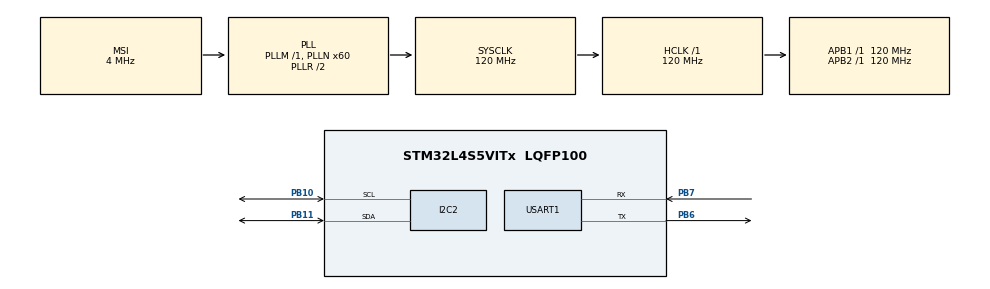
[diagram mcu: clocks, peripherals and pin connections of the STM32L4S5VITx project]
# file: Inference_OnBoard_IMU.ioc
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I2C2.Timing=0x30A175AB
Mcu.Family=STM32L4
Mcu.Name=STM32L4S5VITx
Mcu.Package=LQFP100
NVIC.PriorityGroup=NVIC_PRIORITYGROUP_4
PB10.Mode=I2C
PB10.Signal=I2C2_SCL
PB11.Mode=I2C
PB11.Signal=I2C2_SDA
PB6.Mode=Asynchronous
PB6.Signal=USART1_TX
PB7.Mode=Asynchronous
PB7.Signal=USART1_RX
ProjectManager.HeapSize=0x200
ProjectManager.StackSize=0x400
ProjectManager.TargetToolchain=STM32CubeIDE
RCC.ADCFreq_Value=48000000
RCC.AHBFreq_Value=120000000
RCC.APB1Freq_Value=120000000
RCC.APB1TimFreq_Value=120000000
RCC.APB2Freq_Value=120000000
RCC.APB2TimFreq_Value=120000000
RCC.CortexFreq_Value=120000000
RCC.HCLKFreq_Value=120000000
RCC.HSE_VALUE=8000000
RCC.HSI48_VALUE=48000000
RCC.HSI_VALUE=16000000
RCC.MSI_VALUE=4000000
RCC.PLLN=60
RCC.PLLSAI1N=24
RCC.SYSCLKFreq_VALUE=120000000
RCC.SYSCLKSource=RCC_SYSCLKSOURCE_PLLCLK
RCC.USBFreq_Value=48000000
RCC.VCOOutputFreq_Value=240000000
STMicroelectronics.X-CUBE-AI.10.2.1.ActivationBufferSizeList=2092
STMicroelectronics.X-CUBE-AI.10.2.1.ActivationBuffers=pool0
STMicroelectronics.X-CUBE-AI.10.2.1.ActivationNames=pool0
STMicroelectronics.X-CUBE-AI.10.2.1.ActivationSizes=AI_NETWORK_DATA_ACTIVATION_1_SIZE
STMicroelectronics.X-CUBE-AI.10.2.1.HeapSize=0x800
STMicroelectronics.X-CUBE-AI.10.2.1.InternalRamActivationBufferMaxSize=AI_NETWORK_DATA_ACTIVATIONS_SIZE
STMicroelectronics.X-CUBE-AI.10.2.1.LatestDirectoryUsed-6291740c107991d132de2309ffc4e720c78a395076eed721d9aa543ecdc960af=D\:\\RKS_TinyML_Workspace\\TinyML_Workshop_Nitte\\ONNX
STMicroelectronics.X-CUBE-AI.10.2.1.MaximumNumberOfInputLayer=1
STMicroelectronics.X-CUBE-AI.10.2.1.MaximumNumberOfOutputLayer=1
STMicroelectronics.X-CUBE-AI.10.2.1.MaximumSizeOfInputLayer=1
STMicroelectronics.X-CUBE-AI.10.2.1.MaximumSizeOfOutputLayer=1,1
STMicroelectronics.X-CUBE-AI.10.2.1.ModelActualCompression-6291740c107991d132de2309ffc4e720c78a395076eed721d9aa543ecdc960af=0.0
STMicroelectronics.X-CUBE-AI.10.2.1.ModelCompression-6291740c107991d132de2309ffc4e720c78a395076eed721d9aa543ecdc960af=None
STMicroelectronics.X-CUBE-AI.10.2.1.ModelFlashOccupation-6291740c107991d132de2309ffc4e720c78a395076eed721d9aa543ecdc960af=1321444
STMicroelectronics.X-CUBE-AI.10.2.1.ModelHashList=6291740c107991d132de2309ffc4e720c78a395076eed721d9aa543ecdc960af
STMicroelectronics.X-CUBE-AI.10.2.1.ModelKind-6291740c107991d132de2309ffc4e720c78a395076eed721d9aa543ecdc960af=ONNX
STMicroelectronics.X-CUBE-AI.10.2.1.ModelMacc-6291740c107991d132de2309ffc4e720c78a395076eed721d9aa543ecdc960af=1311
STMicroelectronics.X-CUBE-AI.10.2.1.ModelName-6291740c107991d132de2309ffc4e720c78a395076eed721d9aa543ecdc960af=network
STMicroelectronics.X-CUBE-AI.10.2.1.ModelNameList=network
STMicroelectronics.X-CUBE-AI.10.2.1.ModelRamOccupation-6291740c107991d132de2309ffc4e720c78a395076eed721d9aa543ecdc960af=2092
STMicroelectronics.X-CUBE-AI.10.2.1.ModelStructureFile-6291740c107991d132de2309ffc4e720c78a395076eed721d9aa543ecdc960af=D\:\\RKS_TinyML_Workspace\\TinyML_Workshop_Nitte\\ONNX\\random_forest_model.onnx
STMicroelectronics.X-CUBE-AI.10.2.1.ModelType-6291740c107991d132de2309ffc4e720c78a395076eed721d9aa543ecdc960af=STM32Cube.AI MCU runtime
STMicroelectronics.X-CUBE-AI.10.2.1.ReadyForCodeGeneration=true
STMicroelectronics.X-CUBE-AI.10.2.1.StackSize=0x800
STMicroelectronics.X-CUBE-AI.10.2.1.WorkingBufferStartAddrList=0xFFFFFFFF
STMicroelectronics.X-CUBE-AI.10.2.1.XAaCUBEAaAICcArtificialOoIntelligenceJjCore=true
STMicroelectronics.X-CUBE-AI.10.2.1.copyWeightToRam=false
STMicroelectronics.X-CUBE-AI.10.2.1.customLayerConfigEnabled=false
STMicroelectronics.X-CUBE-AI.10.2.1.noOnnxIoTranspose=false
STMicroelectronics.X-CUBE-AI.10.2.1.useInputAllocation=true
STMicroelectronics.X-CUBE-AI.10.2.1.useOutputAllocation=true
USART1.VirtualMode-Asynchronous=VM_ASYNC
VP_STMicroelectronics.X-CUBE-AI_VS_ArtificialOoIntelligenceJjXAaCUBEAaAI_10.2.1.Mode=ArtificialOoIntelligenceJjXAaCUBEAaAI
board=B-L4S5I-IOT01A

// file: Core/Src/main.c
/* USER CODE BEGIN Header */
/**
  ******************************************************************************
  * @file           : main.c
  * @brief          : Main program body
  ******************************************************************************
  * @attention
  *
  * Copyright (c) 2026 STMicroelectronics.
  * All rights reserved.
  *
  * This software is licensed under terms that can be found in the LICENSE file
  * in the root directory of this software component.
  * If no LICENSE file comes with this software, it is provided AS-IS.
  *
  ******************************************************************************
  */
/* USER CODE END Header */
#include "main.h"

/* USER CODE BEGIN Includes */
#include "stdio.h"
#include "string.h"
#include "network.h"
#include "network_data.h"
#include "network_data_params.h"
#include "imu.h"
/* USER CODE END Includes */

I2C_HandleTypeDef hi2c2;

UART_HandleTypeDef huart1;

/* USER CODE BEGIN PV */
ai_handle network = AI_HANDLE_NULL;

AI_ALIGNED(4)
static ai_u8 activations_buffer[AI_NETWORK_DATA_ACTIVATIONS_SIZE];

static ai_buffer *ai_input;
static ai_buffer *ai_output;

/* Input Features */
float input_data[6];

const float feature_min[6] =
{
    -2.000f,
    -2.000f,
    -2.000f,
    -250.137f,
    -250.137f,
    -250.137f
};

const float feature_max[6] =
{
     2.000f,
     1.749f,
     2.000f,
     250.130f,
     250.130f,
     250.130f
};

/* Predicted Label */
int32_t predicted_label;

/* Output Probabilities */
float probabilities[10];
/* USER CODE END PV */

void SystemClock_Config(void);
static void MX_GPIO_Init(void);
static void MX_I2C2_Init(void);
static void MX_USART1_UART_Init(void);
/* USER CODE BEGIN PFP */
void Normalize_Features(void);
void AI_Run(void);
/* USER CODE END PFP */

/* USER CODE BEGIN 0 */
void MX_X_CUBE_AI_Init(void)
{
    ai_error err;

    /* Activation memory */
    const ai_handle activations[] =
    {
    		activations_buffer
    };

    /* Use embedded weights generated by X-CUBE-AI */
    err = ai_network_create_and_init(
            &network,
            activations,
            NULL);

    if (err.type != AI_ERROR_NONE)
    {
        printf("AI Init Failed\r\n");
        printf("Type = %d\r\n", err.type);
        printf("Code = %d\r\n", err.code);
        Error_Handler();
    }

    ai_input  = ai_network_inputs_get(network, NULL);
    ai_output = ai_network_outputs_get(network, NULL);

    printf("AI Initialized Successfully\r\n");
}

/* USER CODE END 0 */

int main(void)
{

  /* MCU Configuration--------------------------------------------------------*/

  /* Reset of all peripherals, Initializes the Flash interface and the Systick. */
  HAL_Init();

  /* Configure the system clock */
  SystemClock_Config();

  /* Initialize all configured peripherals */
  MX_GPIO_Init();
  MX_I2C2_Init();
  MX_USART1_UART_Init();
  /* USER CODE BEGIN 2 */
  printf("\r\n");
   printf("Random Forest STM32 Demo\r\n");
   float ax, ay, az;
     float gx, gy, gz;
  //   float data[6] = {0};
   MX_X_CUBE_AI_Init();
  /* USER CODE END 2 */

  /* Infinite loop */
  while (1)
  {

    /* USER CODE BEGIN 3 */
	  IMU_Read_Accel(&ax, &ay, &az);
	  	  IMU_Read_Gyro(&gx, &gy, &gz);

	  	  /* Build feature vector */
	  	  input_data[0] = ax;
	  	  input_data[1] = ay;
	  	  input_data[2] = az;
	  	  input_data[3] = gx;
	  	  input_data[4] = gy;
	  	  input_data[5] = gz;

	  	  /* Normalize */
	  	  Normalize_Features();

	  	  printf("\nRaw Sensor Values\n");
	  	  printf("\nAx = %.3f  Ay = %.3f  Az = %.3f\n", ax, ay, az);
	  	  printf("\nGx = %.3f  Gy = %.3f  Gz = %.3f\n", gx, gy, gz);

	  	  printf("\nNormalized Features\n");
	  	  for(int i = 0; i < 6; i++)
	  	  {
	  	      printf("%.3f ", input_data[i]);
	  	  }
	  	  printf("\n");

	  	  /* Run inference */
	  	  AI_Run();

	  	  HAL_Delay(200);
	    }
  /* USER CODE END 3 */
}

void SystemClock_Config(void)
{
  RCC_OscInitTypeDef RCC_OscInitStruct = {0};
  RCC_ClkInitTypeDef RCC_ClkInitStruct = {0};

  /** Configure the main internal regulator output voltage
  */
  if (HAL_PWREx_ControlVoltageScaling(PWR_REGULATOR_VOLTAGE_SCALE1_BOOST) != HAL_OK)
  {
    Error_Handler();
  }

  /** Initializes the RCC Oscillators according to the specified parameters
  * in the RCC_OscInitTypeDef structure.
  */
  RCC_OscInitStruct.OscillatorType = RCC_OSCILLATORTYPE_MSI;
  RCC_OscInitStruct.MSIState = RCC_MSI_ON;
  RCC_OscInitStruct.MSICalibrationValue = 0;
  RCC_OscInitStruct.MSIClockRange = RCC_MSIRANGE_6;
  RCC_OscInitStruct.PLL.PLLState = RCC_PLL_ON;
  RCC_OscInitStruct.PLL.PLLSource = RCC_PLLSOURCE_MSI;
  RCC_OscInitStruct.PLL.PLLM = 1;
  RCC_OscInitStruct.PLL.PLLN = 60;
  RCC_OscInitStruct.PLL.PLLP = RCC_PLLP_DIV2;
  RCC_OscInitStruct.PLL.PLLQ = RCC_PLLQ_DIV2;
  RCC_OscInitStruct.PLL.PLLR = RCC_PLLR_DIV2;
  if (HAL_RCC_OscConfig(&RCC_OscInitStruct) != HAL_OK)
  {
    Error_Handler();
  }

  /** Initializes the CPU, AHB and APB buses clocks
  */
  RCC_ClkInitStruct.ClockType = RCC_CLOCKTYPE_HCLK|RCC_CLOCKTYPE_SYSCLK
                              |RCC_CLOCKTYPE_PCLK1|RCC_CLOCKTYPE_PCLK2;
  RCC_ClkInitStruct.SYSCLKSource = RCC_SYSCLKSOURCE_PLLCLK;
  RCC_ClkInitStruct.AHBCLKDivider = RCC_SYSCLK_DIV1;
  RCC_ClkInitStruct.APB1CLKDivider = RCC_HCLK_DIV1;
  RCC_ClkInitStruct.APB2CLKDivider = RCC_HCLK_DIV1;

  if (HAL_RCC_ClockConfig(&RCC_ClkInitStruct, FLASH_LATENCY_5) != HAL_OK)
  {
    Error_Handler();
  }
}

static void MX_I2C2_Init(void)
{

  hi2c2.Instance = I2C2;
  hi2c2.Init.Timing = 0x30A175AB;
  hi2c2.Init.OwnAddress1 = 0;
  hi2c2.Init.AddressingMode = I2C_ADDRESSINGMODE_7BIT;
  hi2c2.Init.DualAddressMode = I2C_DUALADDRESS_DISABLE;
  hi2c2.Init.OwnAddress2 = 0;
  hi2c2.Init.OwnAddress2Masks = I2C_OA2_NOMASK;
  hi2c2.Init.GeneralCallMode = I2C_GENERALCALL_DISABLE;
  hi2c2.Init.NoStretchMode = I2C_NOSTRETCH_DISABLE;
  if (HAL_I2C_Init(&hi2c2) != HAL_OK)
  {
    Error_Handler();
  }

  /** Configure Analogue filter
  */
  if (HAL_I2CEx_ConfigAnalogFilter(&hi2c2, I2C_ANALOGFILTER_ENABLE) != HAL_OK)
  {
    Error_Handler();
  }

  /** Configure Digital filter
  */
  if (HAL_I2CEx_ConfigDigitalFilter(&hi2c2, 0) != HAL_OK)
  {
    Error_Handler();
  }

}

static void MX_USART1_UART_Init(void)
{

  huart1.Instance = USART1;
  huart1.Init.BaudRate = 115200;
  huart1.Init.WordLength = UART_WORDLENGTH_8B;
  huart1.Init.StopBits = UART_STOPBITS_1;
  huart1.Init.Parity = UART_PARITY_NONE;
  huart1.Init.Mode = UART_MODE_TX_RX;
  huart1.Init.HwFlowCtl = UART_HWCONTROL_NONE;
  huart1.Init.OverSampling = UART_OVERSAMPLING_16;
  huart1.Init.OneBitSampling = UART_ONE_BIT_SAMPLE_DISABLE;
  huart1.Init.ClockPrescaler = UART_PRESCALER_DIV1;
  huart1.AdvancedInit.AdvFeatureInit = UART_ADVFEATURE_NO_INIT;
  if (HAL_UART_Init(&huart1) != HAL_OK)
  {
    Error_Handler();
  }
  if (HAL_UARTEx_SetTxFifoThreshold(&huart1, UART_TXFIFO_THRESHOLD_1_8) != HAL_OK)
  {
    Error_Handler();
  }
  if (HAL_UARTEx_SetRxFifoThreshold(&huart1, UART_RXFIFO_THRESHOLD_1_8) != HAL_OK)
  {
    Error_Handler();
  }
  if (HAL_UARTEx_DisableFifoMode(&huart1) != HAL_OK)
  {
    Error_Handler();
  }

}

static void MX_GPIO_Init(void)
{

  /* GPIO Ports Clock Enable */
  __HAL_RCC_GPIOB_CLK_ENABLE();

}

/* USER CODE BEGIN 4 */
int _write(int file, char *ptr, int len)
{
    HAL_UART_Transmit(&huart1, (uint8_t*)ptr, len, HAL_MAX_DELAY);
    return len;
}

void Normalize_Features(void)
{
    for(int i = 0; i < 6; i++)
    {
        input_data[i] =
            (input_data[i] - feature_min[i]) /
            (feature_max[i] - feature_min[i]);

        /* Optional safety clipping */
        if(input_data[i] < 0.0f)
            input_data[i] = 0.0f;

        if(input_data[i] > 1.0f)
            input_data[i] = 1.0f;
    }
}

void AI_Run(void)
{
    ai_i32 batch;

    ai_input[0].data = AI_HANDLE_PTR(input_data);

    ai_output[0].data = AI_HANDLE_PTR(&predicted_label);

    ai_output[1].data = AI_HANDLE_PTR(probabilities);

    batch = ai_network_run(network,
                           ai_input,
                           ai_output);

    if(batch != 1)
    {
        printf("Inference Error\r\n");
        return;
    }

    printf("\r\n-------------------------\r\n");

    printf("Predicted Class : %ld\r\n", predicted_label);

}
/* USER CODE END 4 */

void Error_Handler(void)
{
  __disable_irq();
  while (1)
  {
  }
}
